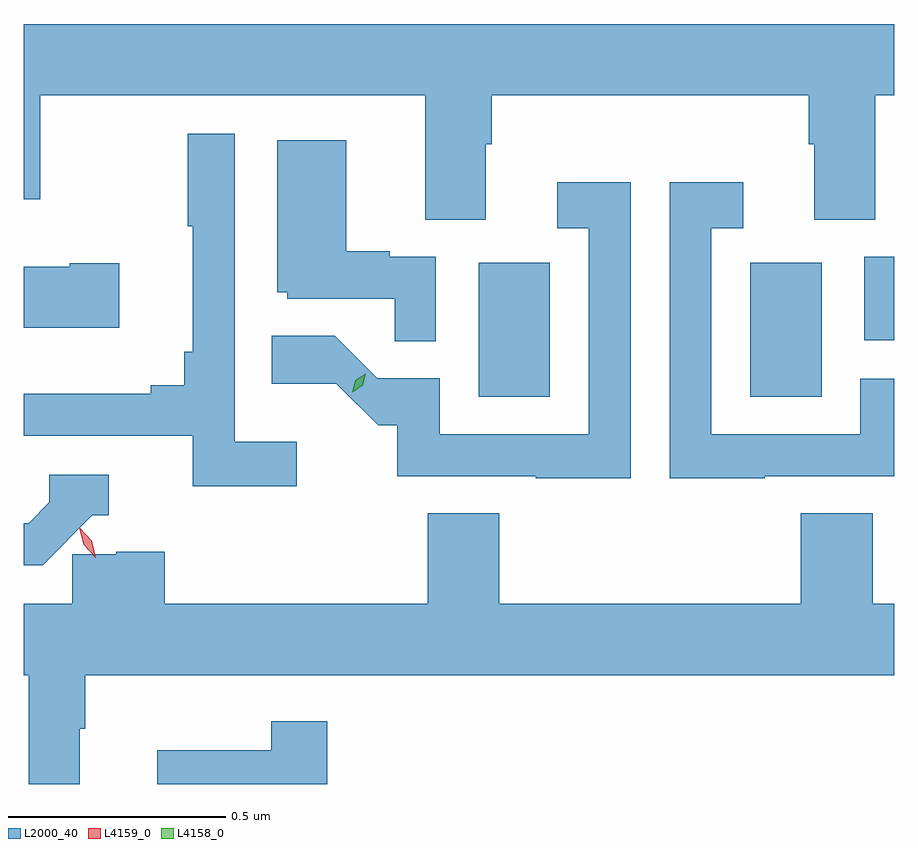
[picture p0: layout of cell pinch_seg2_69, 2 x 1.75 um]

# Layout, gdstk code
import gdstk
lib = gdstk.Library(unit=1e-6, precision=1e-09)
def R(c, l, rs):  # rectangles x0, y0, x1, y1
    for r in rs: c.add(gdstk.rectangle(r[:2], r[2:], *l))
def P(c, l, *ps):  # polygons
    for p in ps: c.add(gdstk.Polygon(p, *l))
L2000_40 = (2000, 40)
L4158_0 = (4158, 0)
L4159_0 = (4159, 0)

pinch_seg2_69 = lib.new_cell('pinch_seg2_69')
R(pinch_seg2_69, L2000_40, [(1038.488,656.268,1038.652,656.575), (1039.112,656.268,1039.276,656.575), (1039.374,656.398,1039.443,656.589)])
P(pinch_seg2_69, L2000_40, [(1038.505,656.848),(1038.518,656.848),(1038.518,656.96),(1039.247,656.96),(1039.247,656.848),(1039.259,656.848),(1039.259,656.674),(1039.399,656.674),(1039.399,656.96),(1039.443,656.96),(1039.443,657.124),(1037.443,657.124),(1037.443,656.721),(1037.481,656.721),(1037.481,656.96),(1038.365,656.96),(1038.365,656.674),(1038.505,656.674)],
  [(1038.07,656.164),(1037.928,656.164),(1037.928,656.872),(1037.82,656.872),(1037.82,656.659),(1037.831,656.659),(1037.831,656.371),(1037.812,656.371),(1037.812,656.294),(1037.735,656.294),(1037.735,656.275),(1037.443,656.275),(1037.443,656.178),(1037.831,656.178),(1037.831,656.062),(1038.07,656.062)],
  [(1038.39,656.589),(1038.284,656.589),(1038.284,656.602),(1038.184,656.602),(1038.184,656.857),(1038.026,656.857),(1038.026,656.508),(1038.048,656.508),(1038.048,656.493),(1038.295,656.493),(1038.295,656.395),(1038.39,656.395)],
  [(1039.145,656.085),(1039.443,656.085),(1039.443,656.309),(1039.365,656.309),(1039.365,656.181),(1039.023,656.181),(1039.023,656.655),(1039.096,656.655),(1039.096,656.761),(1038.927,656.761),(1038.927,656.08),(1039.145,656.08)],
  [(1038.837,656.761),(1038.669,656.761),(1038.669,656.655),(1038.741,656.655),(1038.741,656.181),(1038.399,656.181),(1038.399,656.31),(1038.255,656.31),(1038.157,656.408),(1038.013,656.408),(1038.013,656.298),(1038.161,656.298),(1038.257,656.202),(1038.301,656.202),(1038.301,656.085),(1038.619,656.085),(1038.619,656.08),(1038.837,656.08)],
  [(1037.662,656.574),(1037.549,656.574),(1037.549,656.566),(1037.443,656.566),(1037.443,656.426),(1037.662,656.426)],
  [(1037.601,655.995),(1037.638,655.995),(1037.638,656.088),(1037.502,656.088),(1037.502,656.025),(1037.454,655.977),(1037.443,655.977),(1037.443,655.881),(1037.487,655.881)],
  [(1037.572,655.505),(1037.584,655.505),(1037.584,655.628),(1039.443,655.628),(1039.443,655.792),(1039.394,655.792),(1039.394,656),(1039.228,656),(1039.228,655.792),(1038.536,655.792),(1038.536,656),(1038.371,656),(1038.371,655.792),(1037.767,655.792),(1037.767,655.911),(1037.656,655.911),(1037.656,655.906),(1037.555,655.906),(1037.555,655.792),(1037.443,655.792),(1037.443,655.628),(1037.455,655.628),(1037.455,655.378),(1037.572,655.378)],
  [(1038.14,655.522),(1038.012,655.522),(1038.012,655.456),(1037.75,655.456),(1037.75,655.378),(1038.14,655.378)])
P(pinch_seg2_69, L4158_0, [(1038.198,656.278),(1038.198,656.278),(1038.205,656.305),(1038.229,656.321),(1038.229,656.321),(1038.229,656.321),(1038.222,656.294),(1038.199,656.278)])
P(pinch_seg2_69, L4159_0, [(1037.608,655.898),(1037.608,655.898),(1037.581,655.928),(1037.571,655.967),(1037.571,655.967),(1037.572,655.967),(1037.599,655.937),(1037.609,655.898)])

lib.write_gds('pinch_seg2_69.gds')
